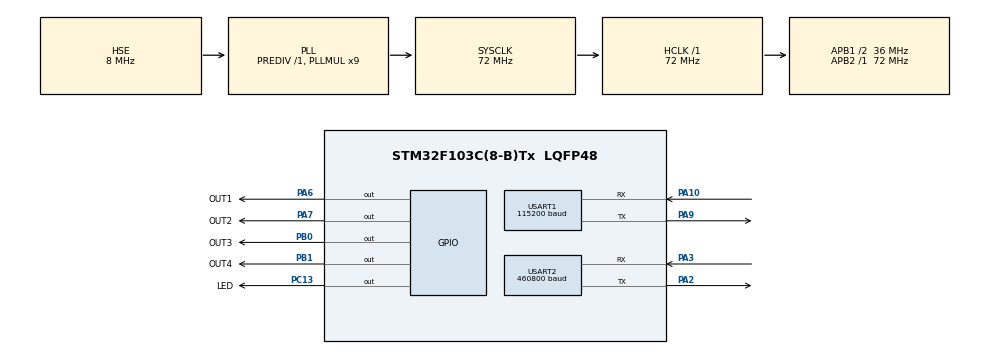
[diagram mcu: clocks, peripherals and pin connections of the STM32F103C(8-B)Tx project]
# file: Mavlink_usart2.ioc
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Dma.Request0=USART2_RX
Dma.Request1=USART2_TX
Dma.USART2_RX.0.Direction=DMA_PERIPH_TO_MEMORY
Dma.USART2_RX.0.Instance=DMA1_Channel6
Dma.USART2_RX.0.MemDataAlignment=DMA_MDATAALIGN_BYTE
Dma.USART2_RX.0.MemInc=DMA_MINC_ENABLE
Dma.USART2_RX.0.Mode=DMA_NORMAL
Dma.USART2_RX.0.PeriphDataAlignment=DMA_PDATAALIGN_BYTE
Dma.USART2_RX.0.PeriphInc=DMA_PINC_DISABLE
Dma.USART2_RX.0.Priority=DMA_PRIORITY_LOW
Dma.USART2_TX.1.Direction=DMA_MEMORY_TO_PERIPH
Dma.USART2_TX.1.Instance=DMA1_Channel7
Dma.USART2_TX.1.MemDataAlignment=DMA_MDATAALIGN_BYTE
Dma.USART2_TX.1.MemInc=DMA_MINC_ENABLE
Dma.USART2_TX.1.Mode=DMA_NORMAL
Dma.USART2_TX.1.PeriphDataAlignment=DMA_PDATAALIGN_BYTE
Dma.USART2_TX.1.PeriphInc=DMA_PINC_DISABLE
Dma.USART2_TX.1.Priority=DMA_PRIORITY_LOW
FREERTOS.INCLUDE_vTaskDelayUntil=1
FREERTOS.Tasks01=defaultTask,0,128,StartDefaultTask,Default,NULL,Dynamic,NULL,NULL
FREERTOS.configTOTAL_HEAP_SIZE=8192
Mcu.Family=STM32F1
Mcu.Name=STM32F103C(8-B)Tx
Mcu.Package=LQFP48
NVIC.DMA1_Channel6_IRQn=true\:5\:0\:false\:false\:true\:true\:false\:true
NVIC.DMA1_Channel7_IRQn=true\:5\:0\:false\:false\:true\:true\:false\:true
NVIC.PriorityGroup=NVIC_PRIORITYGROUP_4
NVIC.TIM1_UP_IRQn=true\:0\:0\:false\:false\:true\:false\:false\:true
NVIC.TimeBase=TIM1_UP_IRQn
NVIC.TimeBaseIP=TIM1
NVIC.USART2_IRQn=true\:5\:0\:false\:false\:true\:true\:true\:true
PA10.Mode=Asynchronous
PA10.Signal=USART1_RX
PA13.Mode=Serial_Wire
PA13.Signal=SYS_JTMS-SWDIO
PA14.Mode=Serial_Wire
PA14.Signal=SYS_JTCK-SWCLK
PA2.Mode=Asynchronous
PA2.Signal=USART2_TX
PA3.Mode=Asynchronous
PA3.Signal=USART2_RX
PA6.GPIO_Label=OUT1
PA6.GPIO_PuPd=GPIO_NOPULL
PA6.Signal=GPIO_Output
PA7.GPIO_Label=OUT2
PA7.GPIO_PuPd=GPIO_NOPULL
PA7.Signal=GPIO_Output
PA9.Mode=Asynchronous
PA9.Signal=USART1_TX
PB0.GPIO_Label=OUT3
PB0.GPIO_PuPd=GPIO_NOPULL
PB0.Signal=GPIO_Output
PB1.GPIO_Label=OUT4
PB1.Signal=GPIO_Output
PC13-TAMPER-RTC.GPIO_Label=LED
PC13-TAMPER-RTC.GPIO_PuPd=GPIO_PULLUP
PC13-TAMPER-RTC.Signal=GPIO_Output
PD0-OSC_IN.Mode=HSE-External-Oscillator
PD0-OSC_IN.Signal=RCC_OSC_IN
PD1-OSC_OUT.Mode=HSE-External-Oscillator
PD1-OSC_OUT.Signal=RCC_OSC_OUT
ProjectManager.HeapSize=0x200
ProjectManager.StackSize=0x400
ProjectManager.TargetToolchain=MDK-ARM V5.27
RCC.AHBFreq_Value=72000000
RCC.APB1CLKDivider=RCC_HCLK_DIV2
RCC.APB1Freq_Value=36000000
RCC.APB1TimFreq_Value=72000000
RCC.APB2Freq_Value=72000000
RCC.APB2TimFreq_Value=72000000
RCC.HCLKFreq_Value=72000000
RCC.PLLMUL=RCC_PLL_MUL9
RCC.PLLSourceVirtual=RCC_PLLSOURCE_HSE
RCC.SYSCLKFreq_VALUE=72000000
RCC.SYSCLKSource=RCC_SYSCLKSOURCE_PLLCLK
RCC.USBFreq_Value=72000000
USART1.BaudRate=115200
USART1.VirtualMode=VM_ASYNC
USART2.BaudRate=460800
USART2.VirtualMode=VM_ASYNC
VP_FREERTOS_VS_CMSIS_V1.Mode=CMSIS_V1
VP_SYS_VS_tim1.Mode=TIM1
board=custom

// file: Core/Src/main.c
/* USER CODE BEGIN Header */
/**
  ******************************************************************************
  * @file           : main.c
  * @brief          : Main program body
  ******************************************************************************
  * @attention
  *
  * <h2><center>&copy; Copyright (c) 2025 STMicroelectronics.
  * All rights reserved.</center></h2>
  *
  * This software component is licensed by ST under Ultimate Liberty license
  * SLA0044, the "License"; You may not use this file except in compliance with
  * the License. You may obtain a copy of the License at:
  *                             www.st.com/SLA0044
  *
  ******************************************************************************
  */
/* USER CODE END Header */
#include "main.h"
#include "cmsis_os.h"
#include "dma.h"
#include "usart.h"
#include "gpio.h"

/* USER CODE BEGIN Includes */
#include "stdio.h"

/* USER CODE END Includes */

void SystemClock_Config(void);
void MX_FREERTOS_Init(void);

int main(void)
{

  /* MCU Configuration--------------------------------------------------------*/

  /* Reset of all peripherals, Initializes the Flash interface and the Systick. */
  HAL_Init();

  /* Configure the system clock */
  SystemClock_Config();

  /* Initialize all configured peripherals */
  MX_GPIO_Init();
  MX_DMA_Init();
  MX_USART1_UART_Init();
  MX_USART2_UART_Init();

  /* Call init function for freertos objects (in freertos.c) */
  MX_FREERTOS_Init();
  /* Start scheduler */
  osKernelStart();

  /* We should never get here as control is now taken by the scheduler */
  /* Infinite loop */
  while (1)
  {

  }
}

void SystemClock_Config(void)
{
  RCC_OscInitTypeDef RCC_OscInitStruct = {0};
  RCC_ClkInitTypeDef RCC_ClkInitStruct = {0};

  /** Initializes the RCC Oscillators according to the specified parameters
  * in the RCC_OscInitTypeDef structure.
  */
  RCC_OscInitStruct.OscillatorType = RCC_OSCILLATORTYPE_HSE;
  RCC_OscInitStruct.HSEState = RCC_HSE_ON;
  RCC_OscInitStruct.HSEPredivValue = RCC_HSE_PREDIV_DIV1;
  RCC_OscInitStruct.HSIState = RCC_HSI_ON;
  RCC_OscInitStruct.PLL.PLLState = RCC_PLL_ON;
  RCC_OscInitStruct.PLL.PLLSource = RCC_PLLSOURCE_HSE;
  RCC_OscInitStruct.PLL.PLLMUL = RCC_PLL_MUL9;
  if (HAL_RCC_OscConfig(&RCC_OscInitStruct) != HAL_OK)
  {
    Error_Handler();
  }
  /** Initializes the CPU, AHB and APB buses clocks
  */
  RCC_ClkInitStruct.ClockType = RCC_CLOCKTYPE_HCLK|RCC_CLOCKTYPE_SYSCLK
                              |RCC_CLOCKTYPE_PCLK1|RCC_CLOCKTYPE_PCLK2;
  RCC_ClkInitStruct.SYSCLKSource = RCC_SYSCLKSOURCE_PLLCLK;
  RCC_ClkInitStruct.AHBCLKDivider = RCC_SYSCLK_DIV1;
  RCC_ClkInitStruct.APB1CLKDivider = RCC_HCLK_DIV2;
  RCC_ClkInitStruct.APB2CLKDivider = RCC_HCLK_DIV1;

  if (HAL_RCC_ClockConfig(&RCC_ClkInitStruct, FLASH_LATENCY_2) != HAL_OK)
  {
    Error_Handler();
  }
}

/* USER CODE BEGIN 4 */
int fputc(int ch,FILE *f)
{
HAL_UART_Transmit(&huart1,(uint8_t *)&ch,1,HAL_MAX_DELAY);

return ch;
}

/* USER CODE END 4 */

 /**
  * @brief  Period elapsed callback in non blocking mode
  * @note   This function is called  when TIM1 interrupt took place, inside
  * HAL_TIM_IRQHandler(). It makes a direct call to HAL_IncTick() to increment
  * a global variable "uwTick" used as application time base.
  * @param  htim : TIM handle
  * @retval None
  */
void HAL_TIM_PeriodElapsedCallback(TIM_HandleTypeDef *htim)
{
  if (htim->Instance == TIM1) {
    HAL_IncTick();
  }
}

void Error_Handler(void)
{
  __disable_irq();
  while (1)
  {
  }
}

/************************ (C) COPYRIGHT STMicroelectronics *****END OF FILE****/

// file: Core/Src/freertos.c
/* USER CODE BEGIN Header */
/**
  ******************************************************************************
  * File Name          : freertos.c
  * Description        : Code for freertos applications
  ******************************************************************************
  * @attention
  *
  * <h2><center>&copy; Copyright (c) 2025 STMicroelectronics.
  * All rights reserved.</center></h2>
  *
  * This software component is licensed by ST under Ultimate Liberty license
  * SLA0044, the "License"; You may not use this file except in compliance with
  * the License. You may obtain a copy of the License at:
  *                             www.st.com/SLA0044
  *
  ******************************************************************************
  */
/* USER CODE END Header */

#include "FreeRTOS.h"
#include "task.h"
#include "main.h"
#include "cmsis_os.h"

/* USER CODE BEGIN Includes */
#include "Driver_FMU.h"
/* USER CODE END Includes */

osThreadId defaultTaskHandle;

/* USER CODE BEGIN FunctionPrototypes */
void Board_LED_Toggle(void)
{
	HAL_GPIO_TogglePin(LED_GPIO_Port, LED_Pin);
}

void Board_LED_task(void *argument)
{
	for (;;)
	{
		Board_LED_Toggle();
		vTaskDelay(500);
	}
}
/* USER CODE END FunctionPrototypes */

void StartDefaultTask(void const * argument);

void MX_FREERTOS_Init(void); /* (MISRA C 2004 rule 8.1) */

/* GetIdleTaskMemory prototype (linked to static allocation support) */
void vApplicationGetIdleTaskMemory( StaticTask_t **ppxIdleTaskTCBBuffer, StackType_t **ppxIdleTaskStackBuffer, uint32_t *pulIdleTaskStackSize );

/* USER CODE BEGIN GET_IDLE_TASK_MEMORY */
static StaticTask_t xIdleTaskTCBBuffer;
static StackType_t xIdleStack[configMINIMAL_STACK_SIZE];

void vApplicationGetIdleTaskMemory( StaticTask_t **ppxIdleTaskTCBBuffer, StackType_t **ppxIdleTaskStackBuffer, uint32_t *pulIdleTaskStackSize )
{
  *ppxIdleTaskTCBBuffer = &xIdleTaskTCBBuffer;
  *ppxIdleTaskStackBuffer = &xIdleStack[0];
  *pulIdleTaskStackSize = configMINIMAL_STACK_SIZE;
  /* place for user code */
}
/* USER CODE END GET_IDLE_TASK_MEMORY */

void MX_FREERTOS_Init(void) {

  /* Create the thread(s) */
  /* definition and creation of defaultTask */
  osThreadDef(defaultTask, StartDefaultTask, osPriorityNormal, 0, 128);
  defaultTaskHandle = osThreadCreate(osThread(defaultTask), NULL);

}

void StartDefaultTask(void const * argument)
{
  /* USER CODE BEGIN StartDefaultTask */
//	 BaseType_t pd1=  xTaskCreate(Board_LED_task,
//              "Brd_LED_task",
//              configMINIMAL_STACK_SIZE * 1,
//              NULL,
//              tskIDLE_PRIORITY + 0,
//              NULL);
//	if(pd1==errCOULD_NOT_ALLOCATE_REQUIRED_MEMORY)
//	printf("LED����ջ����\r\n");

printf("Free heap: %lu bytes\n", xPortGetFreeHeapSize());

 BaseType_t pd =xTaskCreate(FMU_task,
              "FMU_task",
              configMINIMAL_STACK_SIZE * 2,
              NULL,
              tskIDLE_PRIORITY + 1,
              NULL);

		if(pd!=pdPASS )
		printf("��������ʧ��\r\n");

		if(pd==errCOULD_NOT_ALLOCATE_REQUIRED_MEMORY)
			printf("Mavlink����ջ����\r\n");
  /* Infinite loop */
  for(;;)
  {
    osDelay(1);
  }
  /* USER CODE END StartDefaultTask */
}

/************************ (C) COPYRIGHT STMicroelectronics *****END OF FILE****/
